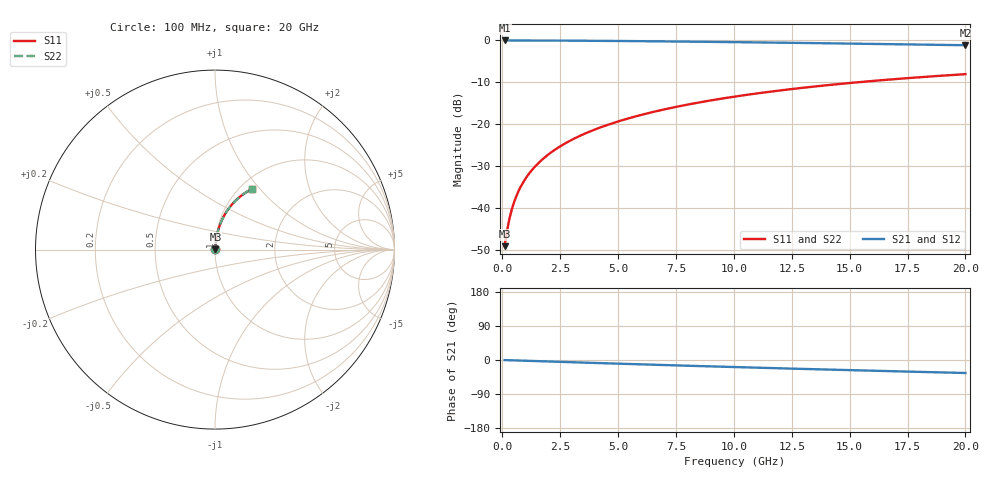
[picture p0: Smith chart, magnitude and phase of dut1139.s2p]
! Touchstone file exported from HFSS 2024.1.0
!  File:  C:/UserFiles/LocalFiles/RDL_TSV_Batchsim/temp_RDL_bottom_1139_1780055596.aedt
!  Generated:  07:55:37 PM May 29, 2026
!  Design:  RDL_bottom
!  Project:  temp_RDL_bottom_1139_1780055596
!  Setup:  Setup1
!  Solution:  Sweep
! Variables:
!  dtsv = 10.80580581um
!  hbump = 3um
!  htsv = 58.33um
!  ldown = 437.04um
!  lrdl = 100um
!  p = 40
!  p1 = 49.19um
!  rhole = 1um
!  t = 450um
!  tdown = 4.57um
!  trdl = 3.915915916um
!  wdown = 13.16um
!  wrdl = 20um
# GHz S MA R 50.000000
! Terminal data exported
! Port[1] = RDL1_T1
! Port[2] = RDL1_T2
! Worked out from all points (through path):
!   200 points, 100 MHz to 20 GHz, reference 50 ohm
!   highest |S21| = -0.02 dB at 100 MHz (marker M1); lowest = -1.2 dB at 20 GHz (marker M2)
!   group delay of S21, straight-line fit = 4.75 ps
!   lowest |S11| = -49.2 dB at 100 MHz (marker M3), VSWR 1.01, Z = 50.3 + j0.225 ohm
!   |S11| at or under -10 dB: start of sweep to 15.37 GHz
!   |S22| runs from -49.2 to -8.1 dB; largest |S21 - S12| = 2.6e-15
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0.1  0.003478 40.1  0.9973 -0.2  0.9973 -0.2  0.003478 40.1
! Gamma 0 0 0 0
! Port Impedance 50 0 50 0
0.2  0.005218 59.0  0.9973 -0.4  0.9973 -0.4  0.005219 59.0
0.3  0.007235 67.8  0.9972 -0.6  0.9972 -0.6  0.007235 67.8
0.4  0.009342 72.6  0.9971 -0.8  0.9971 -0.8  0.009343 72.6
0.5  0.01148 75.5  0.997 -1.0  0.997 -1.0  0.01148 75.5
0.6  0.01363 77.5  0.9969 -1.2  0.9969 -1.2  0.01364 77.5
0.8  0.01794 79.8  0.9966 -1.6  0.9966 -1.6  0.01794 79.8
1.1  0.02438 81.5  0.9962 -2.2  0.9962 -2.2  0.02438 81.5
1.5  0.03291 82.5  0.9956 -3.0  0.9956 -3.0  0.03291 82.5
1.8  0.0393 82.8  0.995 -3.6  0.995 -3.6  0.0393 82.8
2.1  0.04568 82.9  0.9943 -4.2  0.9943 -4.2  0.04568 82.9
2.7  0.05844 82.8  0.9926 -5.3  0.9926 -5.3  0.05844 82.8
3.5  0.07548 82.3  0.9898 -6.9  0.9898 -6.9  0.07548 82.3
4.2  0.09039 81.6  0.9869 -8.2  0.9869 -8.2  0.09039 81.6
5  0.1074 80.7  0.9832 -9.7  0.9832 -9.7  0.1074 80.7
5.9  0.1265 79.6  0.9785 -11.4  0.9785 -11.4  0.1265 79.6
6.8  0.1456 78.4  0.9734 -13.0  0.9734 -13.0  0.1456 78.4
8.3  0.1771 76.3  0.9641 -15.7  0.9641 -15.7  0.1771 76.3
10.1  0.2142 73.6  0.952 -18.8  0.952 -18.8  0.2142 73.6
13.4  0.2794 68.5  0.9278 -24.2  0.9278 -24.2  0.2794 68.6
16.7  0.3399 63.5  0.9017 -29.4  0.9017 -29.4  0.3399 63.5
20  0.3947 58.7  0.8746 -34.3  0.8746 -34.3  0.3948 58.7
